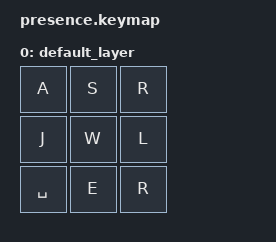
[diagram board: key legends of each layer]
/*



*/

#include <behaviors.dtsi>
#include <dt-bindings/zmk/keys.h>
#include <dt-bindings/zmk/bt.h>

#define DEFAULT 0

/ {
    keymap {
        compatible = "zmk,keymap";

        default_layer {
            bindings = <
                &kp A       &kp S       &kp R
                &kp J       &kp W       &kp L
                &kp SPACE   &kp E       &kp R
            >;
        };
    };
};
